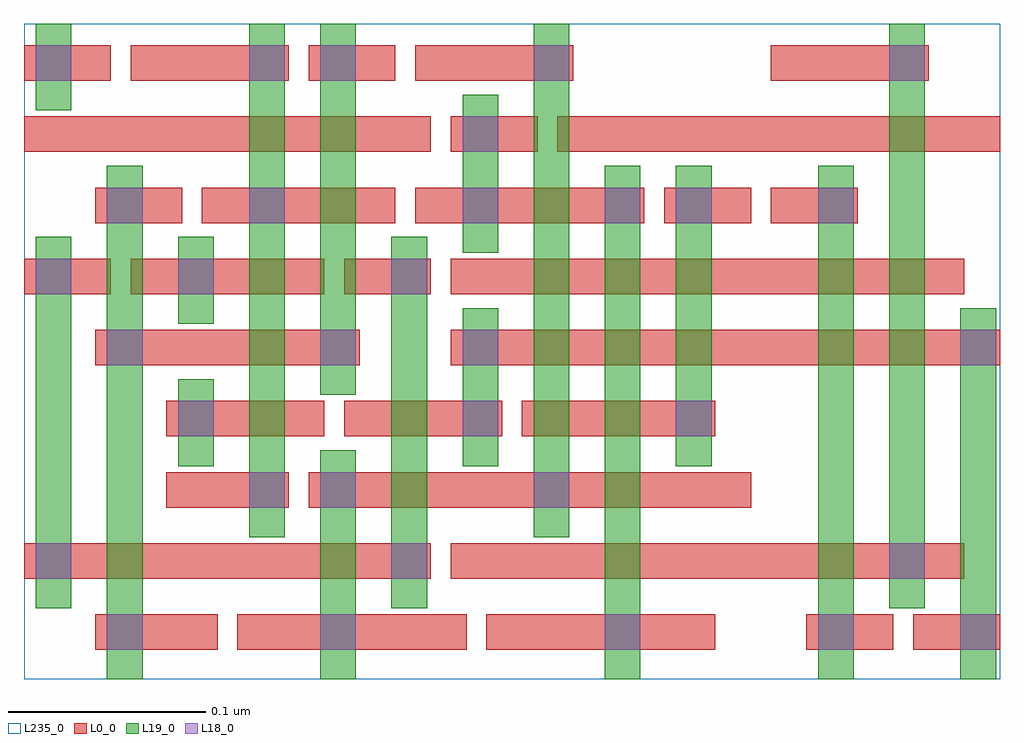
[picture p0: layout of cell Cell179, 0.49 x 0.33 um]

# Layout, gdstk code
import gdstk
lib = gdstk.Library(unit=1e-6, precision=2.5e-10)
def R(c, l, rs):  # rectangles x0, y0, x1, y1
    for r in rs: c.add(gdstk.rectangle(r[:2], r[2:], *l))
def A(c, l, x, y, w, h, nx, ny, dx, dy):  # array of equal rectangles
    R(c, l, [(x+i*dx, y+j*dy, x+i*dx+w, y+j*dy+h) for i in range(nx) for j in range(ny)])
L0_0 = (0, 0)
L18_0 = (18, 0)
L19_0 = (19, 0)
L235_0 = (235, 0)

cell179 = lib.new_cell('Cell179')
R(cell179, L0_0, [(0.04,-0.001,0.102,0.017), (0.112,-0.001,0.228,0.017), (0.238,-0.001,0.354,0.017), (0.4,-0.001,0.444,0.017), (0.454,-0.001,0.498,0.017), (0.004,0.035,0.21,0.053), (0.22,0.035,0.48,0.053), (0.076,0.071,0.138,0.089), (0.148,0.071,0.372,0.089), (0.076,0.107,0.156,0.125), (0.166,0.107,0.246,0.125), (0.256,0.107,0.354,0.125), (0.04,0.143,0.174,0.161), (0.22,0.143,0.498,0.161), (0.004,0.179,0.048,0.197), (0.058,0.179,0.156,0.197), (0.166,0.179,0.21,0.197), (0.22,0.179,0.48,0.197), (0.04,0.215,0.084,0.233), (0.094,0.215,0.192,0.233), (0.202,0.215,0.318,0.233), (0.328,0.215,0.372,0.233), (0.382,0.215,0.426,0.233), (0.004,0.251,0.21,0.269), (0.22,0.251,0.264,0.269), (0.274,0.251,0.498,0.269), (0.004,0.287,0.048,0.305), (0.058,0.287,0.138,0.305), (0.148,0.287,0.192,0.305), (0.202,0.287,0.282,0.305), (0.382,0.287,0.462,0.305)])
A(cell179, L18_0, 0.154, -0.001, 0.018, 0.018, 1, 3, 0, 0.072)
R(cell179, L18_0, [(0.046,-0.001,0.064,0.017), (0.298,-0.001,0.316,0.017), (0.406,-0.001,0.424,0.017), (0.478,-0.001,0.496,0.017), (0.01,0.035,0.028,0.053), (0.19,0.035,0.208,0.053), (0.442,0.035,0.46,0.053), (0.118,0.071,0.136,0.089), (0.262,0.071,0.28,0.089), (0.082,0.107,0.1,0.125), (0.226,0.107,0.244,0.125), (0.334,0.107,0.352,0.125), (0.046,0.143,0.064,0.161), (0.226,0.143,0.244,0.161), (0.478,0.143,0.496,0.161), (0.01,0.179,0.028,0.197), (0.082,0.179,0.1,0.197), (0.19,0.179,0.208,0.197), (0.046,0.215,0.064,0.233), (0.118,0.215,0.136,0.233), (0.226,0.215,0.244,0.233), (0.298,0.215,0.316,0.233), (0.334,0.215,0.352,0.233), (0.406,0.215,0.424,0.233), (0.226,0.251,0.244,0.269), (0.01,0.287,0.028,0.305), (0.118,0.287,0.136,0.305), (0.154,0.287,0.172,0.305), (0.262,0.287,0.28,0.305), (0.442,0.287,0.46,0.305)])
R(cell179, L19_0, [(0.046,-0.016,0.064,0.244), (0.154,-0.016,0.172,0.1), (0.298,-0.016,0.316,0.244), (0.406,-0.016,0.424,0.244), (0.478,-0.016,0.496,0.172), (0.01,0.02,0.028,0.208), (0.19,0.02,0.208,0.208), (0.442,0.02,0.46,0.316), (0.118,0.056,0.136,0.316), (0.262,0.056,0.28,0.316), (0.082,0.092,0.1,0.136), (0.226,0.092,0.244,0.172), (0.334,0.092,0.352,0.244), (0.154,0.128,0.172,0.316), (0.082,0.164,0.1,0.208), (0.226,0.2,0.244,0.28), (0.01,0.272,0.028,0.316)])
R(cell179, L235_0, [(0.004,-0.016,0.498,0.316)])

lib.write_gds('Cell179.gds')
